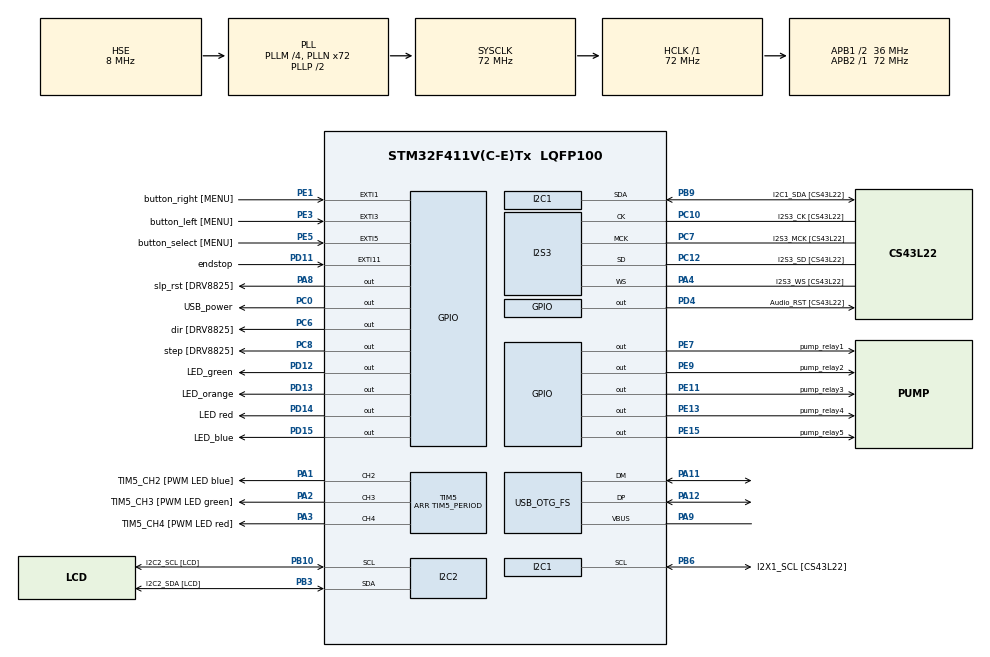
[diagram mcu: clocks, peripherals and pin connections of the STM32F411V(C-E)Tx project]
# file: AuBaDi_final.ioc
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Dma.Request0=SPI3_TX
Dma.SPI3_TX.0.Direction=DMA_MEMORY_TO_PERIPH
Dma.SPI3_TX.0.FIFOMode=DMA_FIFOMODE_ENABLE
Dma.SPI3_TX.0.FIFOThreshold=DMA_FIFO_THRESHOLD_FULL
Dma.SPI3_TX.0.Instance=DMA1_Stream5
Dma.SPI3_TX.0.MemBurst=DMA_MBURST_SINGLE
Dma.SPI3_TX.0.MemDataAlignment=DMA_MDATAALIGN_HALFWORD
Dma.SPI3_TX.0.MemInc=DMA_MINC_ENABLE
Dma.SPI3_TX.0.Mode=DMA_CIRCULAR
Dma.SPI3_TX.0.PeriphBurst=DMA_PBURST_SINGLE
Dma.SPI3_TX.0.PeriphDataAlignment=DMA_PDATAALIGN_HALFWORD
Dma.SPI3_TX.0.PeriphInc=DMA_PINC_DISABLE
Dma.SPI3_TX.0.Priority=DMA_PRIORITY_LOW
I2S3.AudioFreq=I2S_AUDIOFREQ_44K
I2S3.ErrorAudioFreq=6.53 %
I2S3.FullDuplexMode=I2S_FULLDUPLEXMODE_DISABLE
I2S3.Instance=SPI$Index
I2S3.RealAudioFreq=46.875 KHz
I2S3.VirtualMode=I2S_MODE_MASTER
Mcu.Family=STM32F4
Mcu.Name=STM32F411V(C-E)Tx
Mcu.Package=LQFP100
Mcu.UserConstants=TIM4_PERIOD,850;TIM4_PRESCALER,200;TIM5_PRESCALER,700;TIM5_PERIOD,700;TIM10_PERIOD,850;TIM10_PRESCALER,850;TIM3_PERIOD,300;TIM3_PRESCALER,238
NVIC.DMA1_Stream5_IRQn=true\:0\:0\:false\:false\:true\:false\:true
NVIC.EXTI15_10_IRQn=true\:0\:0\:false\:false\:true\:true\:true
NVIC.EXTI1_IRQn=true\:0\:0\:false\:false\:true\:true\:true
NVIC.EXTI3_IRQn=true\:0\:0\:false\:false\:true\:true\:true
NVIC.EXTI9_5_IRQn=true\:0\:0\:false\:false\:true\:true\:true
NVIC.OTG_FS_IRQn=true\:0\:0\:false\:false\:true\:true\:true
NVIC.PriorityGroup=NVIC_PRIORITYGROUP_0
NVIC.TIM1_UP_TIM10_IRQn=true\:0\:0\:false\:false\:true\:true\:true
NVIC.TIM3_IRQn=true\:0\:0\:false\:false\:true\:true\:true
NVIC.TIM4_IRQn=true\:0\:0\:false\:false\:true\:true\:true
PA1.GPIO_Label=TIM5_CH2 [PWM LED blue]
PA1.Signal=S_TIM5_CH2
PA11.Mode=Host_Only
PA11.Signal=USB_OTG_FS_DM
PA12.Mode=Host_Only
PA12.Signal=USB_OTG_FS_DP
PA2.GPIO_Label=TIM5_CH3 [PWM LED green]
PA2.Signal=S_TIM5_CH3
PA3.GPIO_Label=TIM5_CH4 [PWM LED red]
PA3.Signal=S_TIM5_CH4
PA4.GPIO_Label=I2S3_WS [CS43L22]
PA4.Mode=Half_Duplex_Master
PA4.Signal=I2S3_WS
PA8.GPIO_Label=slp_rst [DRV8825]
PA8.Signal=GPIO_Output
PA9.Mode=Activate_VBUS
PA9.Signal=USB_OTG_FS_VBUS
PB10.GPIO_Label=I2C2_SCL [LCD]
PB10.Mode=I2C
PB10.Signal=I2C2_SCL
PB3.GPIO_Label=I2C2_SDA [LCD]
PB3.Mode=I2C
PB3.Signal=I2C2_SDA
PB6.GPIO_Label=I2X1_SCL [CS43L22]
PB6.Mode=I2C
PB6.Signal=I2C1_SCL
PB9.GPIO_Label=I2C1_SDA [CS43L22]
PB9.Mode=I2C
PB9.Signal=I2C1_SDA
PC0.GPIO_Label=USB_power
PC0.Signal=GPIO_Output
PC10.GPIO_Label=I2S3_CK [CS43L22]
PC10.Mode=Half_Duplex_Master
PC10.Signal=I2S3_CK
PC12.GPIO_Label=I2S3_SD [CS43L22]
PC12.Mode=Half_Duplex_Master
PC12.Signal=I2S3_SD
PC6.GPIO_Label=dir [DRV8825]
PC6.Signal=GPIO_Output
PC7.GPIO_Label=I2S3_MCK [CS43L22]
PC7.Mode=Master_Clock_Activated
PC7.Signal=I2S3_MCK
PC8.GPIO_Label=step [DRV8825]
PC8.Signal=GPIO_Output
PD11.GPIO_Label=endstop
PD11.Signal=GPXTI11
PD12.GPIO_Label=LED_green
PD12.Signal=GPIO_Output
PD13.GPIO_Label=LED_orange
PD13.Signal=GPIO_Output
PD14.GPIO_Label=LED red
PD14.Signal=GPIO_Output
PD15.GPIO_Label=LED_blue
PD15.Signal=GPIO_Output
PD4.GPIO_Label=Audio_RST [CS43L22]
PD4.Signal=GPIO_Output
PE1.GPIO_Label=button_right [MENU]
PE1.GPIO_PuPd=GPIO_PULLDOWN
PE1.Signal=GPXTI1
PE11.GPIO_Label=pump_relay3
PE11.GPIO_ModeDefaultOutputPP=GPIO_MODE_OUTPUT_OD
PE11.GPIO_PuPd=GPIO_PULLUP
PE11.Signal=GPIO_Output
PE13.GPIO_Label=pump_relay4
PE13.GPIO_ModeDefaultOutputPP=GPIO_MODE_OUTPUT_OD
PE13.GPIO_PuPd=GPIO_PULLUP
PE13.Signal=GPIO_Output
PE15.GPIO_Label=pump_relay5
PE15.GPIO_ModeDefaultOutputPP=GPIO_MODE_OUTPUT_OD
PE15.GPIO_PuPd=GPIO_PULLUP
PE15.Signal=GPIO_Output
PE3.GPIO_Label=button_left [MENU]
PE3.GPIO_PuPd=GPIO_PULLDOWN
PE3.Signal=GPXTI3
PE5.GPIO_Label=button_select [MENU]
PE5.GPIO_PuPd=GPIO_PULLDOWN
PE5.Signal=GPXTI5
PE7.GPIO_Label=pump_relay1
PE7.GPIO_ModeDefaultOutputPP=GPIO_MODE_OUTPUT_OD
PE7.GPIO_PuPd=GPIO_PULLUP
PE7.Signal=GPIO_Output
PE9.GPIO_Label=pump_relay2
PE9.GPIO_ModeDefaultOutputPP=GPIO_MODE_OUTPUT_OD
PE9.GPIO_PuPd=GPIO_PULLUP
PE9.Signal=GPIO_Output
PH0\ -\ OSC_IN.Mode=HSE-External-Oscillator
PH0\ -\ OSC_IN.Signal=RCC_OSC_IN
PH1\ -\ OSC_OUT.Mode=HSE-External-Oscillator
PH1\ -\ OSC_OUT.Signal=RCC_OSC_OUT
ProjectManager.HeapSize=0x2000
ProjectManager.StackSize=0x2000
ProjectManager.TargetToolchain=STM32CubeIDE
RCC.48MHZClocksFreq_Value=48000000
RCC.AHBFreq_Value=72000000
RCC.APB1CLKDivider=RCC_HCLK_DIV2
RCC.APB1Freq_Value=36000000
RCC.APB1TimFreq_Value=72000000
RCC.APB2Freq_Value=72000000
RCC.APB2TimFreq_Value=72000000
RCC.CortexFreq_Value=72000000
RCC.HCLKFreq_Value=72000000
RCC.HSE_VALUE=8000000
RCC.HSI_VALUE=16000000
RCC.LSE_VALUE=32768
RCC.PLLI2SM=8
RCC.PLLI2SN=288
RCC.PLLI2SR=6
RCC.PLLM=4
RCC.PLLN=72
RCC.PLLQ=3
RCC.SYSCLKFreq_VALUE=72000000
RCC.SYSCLKSource=RCC_SYSCLKSOURCE_PLLCLK
RCC.VCOOutputFreq_Value=144000000
SH.S_TIM5_CH2.0=TIM5_CH2,PWM Generation2 CH2
SH.S_TIM5_CH3.0=TIM5_CH3,PWM Generation3 CH3
SH.S_TIM5_CH4.0=TIM5_CH4,PWM Generation4 CH4
TIM10.Period=TIM10_PERIOD
TIM10.Prescaler=TIM10_PRESCALER
TIM3.Period=TIM3_PERIOD
TIM3.Prescaler=TIM3_PRESCALER
TIM4.Period=TIM4_PERIOD
TIM4.Prescaler=TIM4_PRESCALER
TIM5.Channel-PWM\ Generation2\ CH2=TIM_CHANNEL_2
TIM5.Channel-PWM\ Generation3\ CH3=TIM_CHANNEL_3
TIM5.Channel-PWM\ Generation4\ CH4=TIM_CHANNEL_4
TIM5.Period=TIM5_PERIOD
TIM5.Prescaler=TIM5_PRESCALER
USB_HOST.BSP.number=1
USB_HOST.USBH_HandleTypeDef=hUsbHostFS
USB_HOST.VirtualModeFS=Msc
USB_HOST0.BSP.STBoard=false
USB_HOST0.BSP.api=Unknown
USB_HOST0.BSP.i2caddr=0
USB_HOST0.BSP.i2creg=0
USB_HOST0.BSP.instance=PC0
USB_HOST0.BSP.ip=GPIO
USB_HOST0.BSP.mode=Output
USB_HOST0.BSP.name=Drive_VBUS_FS
USB_HOST0.BSP.solution=PC0
USB_OTG_FS.VirtualMode=Host_Only
USB_OTG_FS.phy_itface=HCD_PHY_EMBEDDED
VP_FATFS_VS_USB.Mode=USB
VP_TIM10_VS_ClockSourceINT.Mode=Enable_Timer
VP_TIM3_VS_ClockSourceINT.Mode=Internal
VP_TIM4_VS_ClockSourceINT.Mode=Internal
VP_USB_HOST_VS_USB_HOST_MSC_FS.Mode=MSC_FS
board=STM32F411E-DISCO

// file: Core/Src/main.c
/* USER CODE BEGIN Header */
/**
 ******************************************************************************
 * @file           : main.c
 * @brief          : Main program body
 ******************************************************************************
 * @attention
 *
 * <h2><center>&copy; Copyright (c) 2020 STMicroelectronics.
 * All rights reserved.</center></h2>
 *
 * This software component is licensed by ST under Ultimate Liberty license
 * SLA0044, the "License"; You may not use this file except in compliance with
 * the License. You may obtain a copy of the License at:
 *                             www.st.com/SLA0044
 *
 ******************************************************************************
 */
/* USER CODE END Header */

#include "main.h"
#include "fatfs.h"
#include "usb_host.h"

/* USER CODE BEGIN Includes */
#include "audioI2S.h"
#include "MY_CS43L22.h"
#include "wav_player.h"
#include "lcd16x2_i2c.h"
/* USER CODE END Includes */

/* USER CODE BEGIN PTD */
extern ApplicationTypeDef Appli_state;
/* USER CODE END PTD */

/* USER CODE BEGIN PD */
#define STEPS 1970
#define WAV_FILE_menu "audio/cancan1.wav"
#define WAV_FILE_1 "audio/club1.wav"
#define WAV_FILE_2 "audio/cancan1.wav"
#define WAV_FILE_3 "audio/club1.wav"
/* USER CODE END PD */

I2C_HandleTypeDef hi2c1;
I2C_HandleTypeDef hi2c2;

I2S_HandleTypeDef hi2s3;
DMA_HandleTypeDef hdma_spi3_tx;

TIM_HandleTypeDef htim3;
TIM_HandleTypeDef htim4;
TIM_HandleTypeDef htim5;
TIM_HandleTypeDef htim10;

/* USER CODE BEGIN PV */

volatile int duty = 0;
volatile int confirm = 0;
volatile int selection = 0;
volatile int old_selection = -1;
volatile int audio_flag = 0;
volatile int time_pour = 0;
volatile int flag_endofroad = 0;
volatile int flag_busy = 0;
volatile int last_position = 0;
volatile int step = 2;
volatile int step_beg;
volatile int iter = 5;
volatile int recipe = 0;
volatile int pour_position = 0;
volatile int go_to_pos;
volatile int pour_recipe;

int queue[] = { 0, 5, 4, 3, 2, 1 };

//*************************RECIPES*************************
int recipe_1[] = { 0, 5000, 4000, 3000, 2000, 1000 };
int recipe_2[] = { 0, 1000, 2000, 3000, 4000, 5000 };
int recipe_3[] = { 0, 1000, 1000, 1000, 1000, 1000 };

/* USER CODE END PV */

void SystemClock_Config(void);
static void MX_GPIO_Init(void);
static void MX_DMA_Init(void);
static void MX_I2C1_Init(void);
static void MX_I2S3_Init(void);
static void MX_I2C2_Init(void);
static void MX_TIM4_Init(void);
static void MX_TIM5_Init(void);
static void MX_TIM10_Init(void);
static void MX_TIM3_Init(void);
void MX_USB_HOST_Process(void);

/* USER CODE BEGIN PFP */
void HAL_TIM_PeriodElapsedCallback(TIM_HandleTypeDef *htim) {
	if (htim == &htim10) {
		if (duty < 1000) {
			duty++;
		} else
			duty = 0;
	}
	if (htim == &htim4) {
		HAL_GPIO_TogglePin(step_GPIO_Port, step_Pin);
		step--;
		step_beg--;

		if (step == 0) {
			HAL_TIM_Base_Stop_IT(&htim4);
			flag_busy = 0;
		}
		if (step_beg == 0) {
			HAL_TIM_Base_Stop_IT(&htim4);
			HAL_TIM_Base_Start_IT(&htim3);
			iter--;
		}
		if (iter < 0) {
			iter = 5;
			confirm = 0;
		}
	}

	if (htim == &htim3) {
		switch (pour_position) {
		case 1:
			HAL_GPIO_WritePin(pump_relay1_GPIO_Port, pump_relay1_Pin, 0);
			break;
		case 2:
			HAL_GPIO_WritePin(pump_relay2_GPIO_Port, pump_relay2_Pin, 0);
			break;
		case 3:
			HAL_GPIO_WritePin(pump_relay3_GPIO_Port, pump_relay3_Pin, 0);
			break;
		case 4:
			HAL_GPIO_WritePin(pump_relay4_GPIO_Port, pump_relay4_Pin, 0);
			break;
		case 5:
			HAL_GPIO_WritePin(pump_relay5_GPIO_Port, pump_relay5_Pin, 0);
			break;

		}
		if (time_pour > 0) {
			time_pour--;
		} else {
			time_pour = 0;
			HAL_GPIO_WritePin(pump_relay1_GPIO_Port, pump_relay1_Pin, 1);
			HAL_GPIO_WritePin(pump_relay2_GPIO_Port, pump_relay2_Pin, 1);
			HAL_GPIO_WritePin(pump_relay3_GPIO_Port, pump_relay3_Pin, 1);
			HAL_GPIO_WritePin(pump_relay4_GPIO_Port, pump_relay4_Pin, 1);
			HAL_GPIO_WritePin(pump_relay5_GPIO_Port, pump_relay5_Pin, 1);
			HAL_TIM_Base_Stop_IT(&htim3);
			flag_busy = 0;

		}
	}
}

void HAL_GPIO_EXTI_Callback(uint16_t GPIO_Pin) {
	//  left button
	if (GPIO_Pin == button_left_Pin) {
		//confirm = 0;
		selection--;
	}
	//  right button
	if (GPIO_Pin == button_right_Pin) {
		//confirm = 0;
		selection++;
	}
	//  menu button
	if (GPIO_Pin == button_select_Pin) {
		confirm = 1;
	}
	// endstop
	if (GPIO_Pin == endstop_Pin)
		flag_endofroad = 1;
	else
		flag_endofroad = 0;
}

void wake(int flag) {
	if (flag == 1) {
		HAL_GPIO_WritePin(slp_rst_GPIO_Port, slp_rst_Pin, 1);
	} else {
		HAL_GPIO_WritePin(slp_rst_GPIO_Port, slp_rst_Pin, 0);
	}
}

void move(int direction, int steps) {
	step = steps;
	switch (direction) {
	//move right
	case 0:
		HAL_GPIO_WritePin(dir_GPIO_Port, dir_Pin, 0);
		wake(1);
		HAL_TIM_Base_Start_IT(&htim4);
		break;
		//move left
	case 1:
		HAL_GPIO_WritePin(dir_GPIO_Port, dir_Pin, 1);
		wake(1);
		HAL_TIM_Base_Start_IT(&htim4);
		break;
	}

}

void moveBegin() {
	wake(1);
	while (flag_endofroad == 0) {
		move(0, 1);
	}
	flag_endofroad = 0;
	wake(0);
}

void bartender(int position, int time) {
	pour_position = position;
	flag_busy = 1;
	time_pour = time;
	int target;
	flag_endofroad = 0;

	if (position >= 0) {

		if (last_position > position) {
			wake(1);
			target = STEPS / 2 * abs((position - last_position));
			move(0, target + 10);

		}

		else if (last_position < position) {
			wake(1);
			target = STEPS / 2 * abs((last_position - position));
			move(1, target + 10);

		}

		step_beg = target;
	}
	last_position = position;

}

void pumpInit() {
	HAL_GPIO_WritePin(pump_relay1_GPIO_Port, pump_relay1_Pin, 1);
	HAL_GPIO_WritePin(pump_relay2_GPIO_Port, pump_relay2_Pin, 1);
	HAL_GPIO_WritePin(pump_relay3_GPIO_Port, pump_relay3_Pin, 1);
	HAL_GPIO_WritePin(pump_relay4_GPIO_Port, pump_relay4_Pin, 1);
	HAL_GPIO_WritePin(pump_relay5_GPIO_Port, pump_relay5_Pin, 1);
}
/* USER CODE END PFP */

int main(void)
{

  /* MCU Configuration--------------------------------------------------------*/

  /* Reset of all peripherals, Initializes the Flash interface and the Systick. */
  HAL_Init();

  /* Configure the system clock */
  SystemClock_Config();

  /* Initialize all configured peripherals */
  MX_GPIO_Init();
  MX_DMA_Init();
  MX_I2C1_Init();
  MX_I2S3_Init();
  MX_USB_HOST_Init();
  MX_FATFS_Init();
  MX_I2C2_Init();
  MX_TIM4_Init();
  MX_TIM5_Init();
  MX_TIM10_Init();
  MX_TIM3_Init();
  /* USER CODE BEGIN 2 */
	/******************************** MENU INIT ************************************/
	pumpInit();

	/****************************** DAC AUDIO INIT ******************************/
	CS43_Init(hi2c1, MODE_I2S);
	CS43_SetVolume(190); //0-255
	CS43_Enable_RightLeft(CS43_RIGHT_LEFT);
	audioI2S_setHandle(&hi2s3);
	bool isSdCardMounted = 0;

	/****************************** LCD INIT ************************************/
	lcd16x2_i2c_init(&hi2c2);
	lcd16x2_i2c_1stLine();
	lcd16x2_i2c_printf("Barman Dionizos");
	lcd16x2_i2c_2ndLine();
	lcd16x2_i2c_printf(" KALIBRACJA ");

	/****************************** PWM LIGHTNING INIT **************************/
	HAL_TIM_Base_Start_IT(&htim10);
	//blue LED
	__HAL_TIM_SET_COMPARE(&htim5, TIM_CHANNEL_2, 0);
	HAL_TIM_PWM_Start(&htim5, TIM_CHANNEL_2);
	//green LED
	__HAL_TIM_SET_COMPARE(&htim5, TIM_CHANNEL_3, 0);
	HAL_TIM_PWM_Start(&htim5, TIM_CHANNEL_3);
	//red LED
	__HAL_TIM_SET_COMPARE(&htim5, TIM_CHANNEL_4, 0);
	HAL_TIM_PWM_Start(&htim5, TIM_CHANNEL_4);

	/****************************** MOTOR INIT ***********************************/
	moveBegin();
	wake(1);
	/******************************** MENU INIT ************************************/
	iter = 5;
  /* USER CODE END 2 */

  /* Infinite loop */
  /* USER CODE BEGIN WHILE */
	while (1) {

		/*********************************** MENU ************************************/

		if (selection != old_selection) {
			if (selection <= 3 && selection >= 0) {
				switch (selection) {

				case 0:
					lcd16x2_i2c_clear();
					lcd16x2_i2c_1stLine();
					lcd16x2_i2c_printf("Barman Dionizos");
					lcd16x2_i2c_2ndLine();
					lcd16x2_i2c_printf("<-WYBOR NAPOJU->");
					audio_flag = 4;
					recipe = 0;
					confirm = 0;
					break;

				case 1:
					lcd16x2_i2c_clear();
					lcd16x2_i2c_1stLine();
					lcd16x2_i2c_printf("Barman Dionizos");
					lcd16x2_i2c_2ndLine();
					lcd16x2_i2c_printf("<-   NAPOJ 1  ->");
					audio_flag = 1;
					recipe = 1;
					break;

				case 2:
					lcd16x2_i2c_clear();
					lcd16x2_i2c_1stLine();
					lcd16x2_i2c_printf("Barman Dionizos");
					lcd16x2_i2c_2ndLine();
					lcd16x2_i2c_printf("<-   NAPOJ 2  ->");
					audio_flag = 2;
					recipe = 2;
					break;

				case 3:
					lcd16x2_i2c_clear();
					lcd16x2_i2c_1stLine();
					lcd16x2_i2c_printf("Barman Dionizos");
					lcd16x2_i2c_2ndLine();
					lcd16x2_i2c_printf("<-   NAPOJ 3  ->");
					audio_flag = 3;
					recipe = 3;
					break;
				}
				old_selection = selection;
			}

			else if (selection < 0) {
				selection = 3;
			} else if (selection > 3) {
				selection = 0;
			}

		}

		/*********************************** LED PWM  ************************************/
		TIM5->CCR2 = 1000;
		TIM5->CCR3 = duty;
		TIM5->CCR4 = (1000 - duty);

		/*********************************** AUDIO ****************************************/

		if (Appli_state == APPLICATION_START) {
			HAL_GPIO_WritePin(GPIOD, GPIO_PIN_12, GPIO_PIN_SET);
		}

		else if (Appli_state == APPLICATION_DISCONNECT) {
			HAL_GPIO_WritePin(GPIOD, GPIO_PIN_12, GPIO_PIN_RESET);

		}

		if (Appli_state == APPLICATION_READY) {
			if (!isSdCardMounted) {
				f_mount(&USBHFatFS, (const TCHAR*) USBHPath, 0);
				isSdCardMounted = 1;
			}

			if (audio_flag == 1) {
				if (!wavPlayer_isFinished()) {
					wavPlayer_stop();
				} else {
					HAL_GPIO_WritePin(GPIOD, GPIO_PIN_13, GPIO_PIN_SET);
					HAL_Delay(500);
					wavPlayer_fileSelect(WAV_FILE_1);
					wavPlayer_play();
					audio_flag = 0;
				}
			}

			else if (audio_flag == 2) {
				if (!wavPlayer_isFinished()) {
					wavPlayer_stop();
				} else {
					HAL_GPIO_WritePin(GPIOD, GPIO_PIN_13, GPIO_PIN_SET);
					HAL_Delay(500);
					wavPlayer_fileSelect(WAV_FILE_2);
					wavPlayer_play();
					audio_flag = 0;
				}
			}

			else if (audio_flag == 3) {
				if (!wavPlayer_isFinished()) {
					wavPlayer_stop();
				} else {
					HAL_GPIO_WritePin(GPIOD, GPIO_PIN_13, GPIO_PIN_SET);
					HAL_Delay(500);
					wavPlayer_fileSelect(WAV_FILE_3);
					wavPlayer_play();
					audio_flag = 0;
				}
			}

			else if (audio_flag == 4) {
				if (!wavPlayer_isFinished()) {
					wavPlayer_stop();
				} else {
					HAL_GPIO_WritePin(GPIOD, GPIO_PIN_13, GPIO_PIN_SET);
					HAL_Delay(500);
					wavPlayer_fileSelect(WAV_FILE_menu);
					wavPlayer_play();
					audio_flag = 0;
				}
			}

		}

		wavPlayer_process();

		/*********************************** MOTOR & PUMPS  ************************************/

		switch (selection) {
		case 1:
			if (confirm == 1) {
				if (flag_busy == 0) {
					if (iter >= 0) {
						go_to_pos = queue[iter];
						pour_recipe = recipe_1[iter];
					} else {
						go_to_pos = 0;
						pour_recipe = 0;
					}
					bartender(go_to_pos, pour_recipe);
				}
			}
			break;
		case 2:
			if (confirm == 1) {
				if (flag_busy == 0) {
					if (iter >= 0) {
						go_to_pos = queue[iter];
						pour_recipe = recipe_2[iter];
					} else {
						go_to_pos = 0;
						pour_recipe = 0;
					}
					bartender(go_to_pos, pour_recipe);
				}
			}
			break;
		case 3:
			if (confirm == 1) {
				if (flag_busy == 0) {
					if (iter >= 0) {
						go_to_pos = queue[iter];
						pour_recipe = recipe_3[iter];
					} else {
						go_to_pos = 0;
						pour_recipe = 0;
					}
					bartender(go_to_pos, pour_recipe);
				}
			}
			break;
		}
		//*********************************** PUMPS  ************************************/

    /* USER CODE END WHILE */
    MX_USB_HOST_Process();

	}
}

void SystemClock_Config(void)
{
  RCC_OscInitTypeDef RCC_OscInitStruct = {0};
  RCC_ClkInitTypeDef RCC_ClkInitStruct = {0};
  RCC_PeriphCLKInitTypeDef PeriphClkInitStruct = {0};

  /** Configure the main internal regulator output voltage
  */
  __HAL_RCC_PWR_CLK_ENABLE();
  __HAL_PWR_VOLTAGESCALING_CONFIG(PWR_REGULATOR_VOLTAGE_SCALE1);
  /** Initializes the CPU, AHB and APB busses clocks
  */
  RCC_OscInitStruct.OscillatorType = RCC_OSCILLATORTYPE_HSE;
  RCC_OscInitStruct.HSEState = RCC_HSE_ON;
  RCC_OscInitStruct.PLL.PLLState = RCC_PLL_ON;
  RCC_OscInitStruct.PLL.PLLSource = RCC_PLLSOURCE_HSE;
  RCC_OscInitStruct.PLL.PLLM = 4;
  RCC_OscInitStruct.PLL.PLLN = 72;
  RCC_OscInitStruct.PLL.PLLP = RCC_PLLP_DIV2;
  RCC_OscInitStruct.PLL.PLLQ = 3;
  if (HAL_RCC_OscConfig(&RCC_OscInitStruct) != HAL_OK)
  {
    Error_Handler();
  }
  /** Initializes the CPU, AHB and APB busses clocks
  */
  RCC_ClkInitStruct.ClockType = RCC_CLOCKTYPE_HCLK|RCC_CLOCKTYPE_SYSCLK
                              |RCC_CLOCKTYPE_PCLK1|RCC_CLOCKTYPE_PCLK2;
  RCC_ClkInitStruct.SYSCLKSource = RCC_SYSCLKSOURCE_PLLCLK;
  RCC_ClkInitStruct.AHBCLKDivider = RCC_SYSCLK_DIV1;
  RCC_ClkInitStruct.APB1CLKDivider = RCC_HCLK_DIV2;
  RCC_ClkInitStruct.APB2CLKDivider = RCC_HCLK_DIV1;

  if (HAL_RCC_ClockConfig(&RCC_ClkInitStruct, FLASH_LATENCY_2) != HAL_OK)
  {
    Error_Handler();
  }
  PeriphClkInitStruct.PeriphClockSelection = RCC_PERIPHCLK_I2S;
  PeriphClkInitStruct.PLLI2S.PLLI2SN = 288;
  PeriphClkInitStruct.PLLI2S.PLLI2SM = 8;
  PeriphClkInitStruct.PLLI2S.PLLI2SR = 6;
  if (HAL_RCCEx_PeriphCLKConfig(&PeriphClkInitStruct) != HAL_OK)
  {
    Error_Handler();
  }
}

static void MX_I2C1_Init(void)
{

  hi2c1.Instance = I2C1;
  hi2c1.Init.ClockSpeed = 100000;
  hi2c1.Init.DutyCycle = I2C_DUTYCYCLE_2;
  hi2c1.Init.OwnAddress1 = 0;
  hi2c1.Init.AddressingMode = I2C_ADDRESSINGMODE_7BIT;
  hi2c1.Init.DualAddressMode = I2C_DUALADDRESS_DISABLE;
  hi2c1.Init.OwnAddress2 = 0;
  hi2c1.Init.GeneralCallMode = I2C_GENERALCALL_DISABLE;
  hi2c1.Init.NoStretchMode = I2C_NOSTRETCH_DISABLE;
  if (HAL_I2C_Init(&hi2c1) != HAL_OK)
  {
    Error_Handler();
  }

}

static void MX_I2C2_Init(void)
{

  hi2c2.Instance = I2C2;
  hi2c2.Init.ClockSpeed = 100000;
  hi2c2.Init.DutyCycle = I2C_DUTYCYCLE_2;
  hi2c2.Init.OwnAddress1 = 0;
  hi2c2.Init.AddressingMode = I2C_ADDRESSINGMODE_7BIT;
  hi2c2.Init.DualAddressMode = I2C_DUALADDRESS_DISABLE;
  hi2c2.Init.OwnAddress2 = 0;
  hi2c2.Init.GeneralCallMode = I2C_GENERALCALL_DISABLE;
  hi2c2.Init.NoStretchMode = I2C_NOSTRETCH_DISABLE;
  if (HAL_I2C_Init(&hi2c2) != HAL_OK)
  {
    Error_Handler();
  }

}

static void MX_I2S3_Init(void)
{

  hi2s3.Instance = SPI3;
  hi2s3.Init.Mode = I2S_MODE_MASTER_TX;
  hi2s3.Init.Standard = I2S_STANDARD_PHILIPS;
  hi2s3.Init.DataFormat = I2S_DATAFORMAT_16B;
  hi2s3.Init.MCLKOutput = I2S_MCLKOUTPUT_ENABLE;
  hi2s3.Init.AudioFreq = I2S_AUDIOFREQ_44K;
  hi2s3.Init.CPOL = I2S_CPOL_LOW;
  hi2s3.Init.ClockSource = I2S_CLOCK_PLL;
  hi2s3.Init.FullDuplexMode = I2S_FULLDUPLEXMODE_DISABLE;
  if (HAL_I2S_Init(&hi2s3) != HAL_OK)
  {
    Error_Handler();
  }

}

static void MX_TIM3_Init(void)
{

  TIM_ClockConfigTypeDef sClockSourceConfig = {0};
  TIM_MasterConfigTypeDef sMasterConfig = {0};

  htim3.Instance = TIM3;
  htim3.Init.Prescaler = TIM3_PRESCALER;
  htim3.Init.CounterMode = TIM_COUNTERMODE_UP;
  htim3.Init.Period = TIM3_PERIOD;
  htim3.Init.ClockDivision = TIM_CLOCKDIVISION_DIV1;
  htim3.Init.AutoReloadPreload = TIM_AUTORELOAD_PRELOAD_DISABLE;
  if (HAL_TIM_Base_Init(&htim3) != HAL_OK)
  {
    Error_Handler();
  }
  sClockSourceConfig.ClockSource = TIM_CLOCKSOURCE_INTERNAL;
  if (HAL_TIM_ConfigClockSource(&htim3, &sClockSourceConfig) != HAL_OK)
  {
    Error_Handler();
  }
  sMasterConfig.MasterOutputTrigger = TIM_TRGO_RESET;
  sMasterConfig.MasterSlaveMode = TIM_MASTERSLAVEMODE_DISABLE;
  if (HAL_TIMEx_MasterConfigSynchronization(&htim3, &sMasterConfig) != HAL_OK)
  {
    Error_Handler();
  }

}

static void MX_TIM4_Init(void)
{

  TIM_ClockConfigTypeDef sClockSourceConfig = {0};
  TIM_MasterConfigTypeDef sMasterConfig = {0};

  htim4.Instance = TIM4;
  htim4.Init.Prescaler = TIM4_PRESCALER;
  htim4.Init.CounterMode = TIM_COUNTERMODE_UP;
  htim4.Init.Period = TIM4_PERIOD;
  htim4.Init.ClockDivision = TIM_CLOCKDIVISION_DIV1;
  htim4.Init.AutoReloadPreload = TIM_AUTORELOAD_PRELOAD_DISABLE;
  if (HAL_TIM_Base_Init(&htim4) != HAL_OK)
  {
    Error_Handler();
  }
  sClockSourceConfig.ClockSource = TIM_CLOCKSOURCE_INTERNAL;
  if (HAL_TIM_ConfigClockSource(&htim4, &sClockSourceConfig) != HAL_OK)
  {
    Error_Handler();
  }
  sMasterConfig.MasterOutputTrigger = TIM_TRGO_RESET;
  sMasterConfig.MasterSlaveMode = TIM_MASTERSLAVEMODE_DISABLE;
  if (HAL_TIMEx_MasterConfigSynchronization(&htim4, &sMasterConfig) != HAL_OK)
  {
    Error_Handler();
  }

}

static void MX_TIM5_Init(void)
{

  TIM_MasterConfigTypeDef sMasterConfig = {0};
  TIM_OC_InitTypeDef sConfigOC = {0};

  htim5.Instance = TIM5;
  htim5.Init.Prescaler = TIM5_PRESCALER;
  htim5.Init.CounterMode = TIM_COUNTERMODE_UP;
  htim5.Init.Period = TIM5_PERIOD;
  htim5.Init.ClockDivision = TIM_CLOCKDIVISION_DIV1;
  htim5.Init.AutoReloadPreload = TIM_AUTORELOAD_PRELOAD_DISABLE;
  if (HAL_TIM_PWM_Init(&htim5) != HAL_OK)
  {
    Error_Handler();
  }
  sMasterConfig.MasterOutputTrigger = TIM_TRGO_RESET;
  sMasterConfig.MasterSlaveMode = TIM_MASTERSLAVEMODE_DISABLE;
  if (HAL_TIMEx_MasterConfigSynchronization(&htim5, &sMasterConfig) != HAL_OK)
  {
    Error_Handler();
  }
  sConfigOC.OCMode = TIM_OCMODE_PWM1;
  sConfigOC.Pulse = 0;
  sConfigOC.OCPolarity = TIM_OCPOLARITY_HIGH;
  sConfigOC.OCFastMode = TIM_OCFAST_DISABLE;
  if (HAL_TIM_PWM_ConfigChannel(&htim5, &sConfigOC, TIM_CHANNEL_2) != HAL_OK)
  {
    Error_Handler();
  }
  if (HAL_TIM_PWM_ConfigChannel(&htim5, &sConfigOC, TIM_CHANNEL_3) != HAL_OK)
  {
    Error_Handler();
  }
  if (HAL_TIM_PWM_ConfigChannel(&htim5, &sConfigOC, TIM_CHANNEL_4) != HAL_OK)
  {
    Error_Handler();
  }
  HAL_TIM_MspPostInit(&htim5);

}

static void MX_TIM10_Init(void)
{

  htim10.Instance = TIM10;
  htim10.Init.Prescaler = TIM10_PRESCALER;
  htim10.Init.CounterMode = TIM_COUNTERMODE_UP;
  htim10.Init.Period = TIM10_PERIOD;
  htim10.Init.ClockDivision = TIM_CLOCKDIVISION_DIV1;
  htim10.Init.AutoReloadPreload = TIM_AUTORELOAD_PRELOAD_DISABLE;
  if (HAL_TIM_Base_Init(&htim10) != HAL_OK)
  {
    Error_Handler();
  }

}

static void MX_DMA_Init(void)
{

  /* DMA controller clock enable */
  __HAL_RCC_DMA1_CLK_ENABLE();

  /* DMA interrupt init */
  /* DMA1_Stream5_IRQn interrupt configuration */
  HAL_NVIC_SetPriority(DMA1_Stream5_IRQn, 0, 0);
  HAL_NVIC_EnableIRQ(DMA1_Stream5_IRQn);

}

static void MX_GPIO_Init(void)
{
  GPIO_InitTypeDef GPIO_InitStruct = {0};

  /* GPIO Ports Clock Enable */
  __HAL_RCC_GPIOE_CLK_ENABLE();
  __HAL_RCC_GPIOH_CLK_ENABLE();
  __HAL_RCC_GPIOC_CLK_ENABLE();
  __HAL_RCC_GPIOA_CLK_ENABLE();
  __HAL_RCC_GPIOB_CLK_ENABLE();
  __HAL_RCC_GPIOD_CLK_ENABLE();

  /*Configure GPIO pin Output Level */
  HAL_GPIO_WritePin(GPIOC, USB_power_Pin|dir_Pin|step_Pin, GPIO_PIN_RESET);

  /*Configure GPIO pin Output Level */
  HAL_GPIO_WritePin(GPIOE, pump_relay1_Pin|pump_relay2_Pin|pump_relay3_Pin|pump_relay4_Pin
                          |pump_relay5_Pin, GPIO_PIN_RESET);

  /*Configure GPIO pin Output Level */
  HAL_GPIO_WritePin(GPIOD, LED_green_Pin|LED_orange_Pin|LED_red_Pin|LED_blue_Pin
                          |Audio_RST_Pin, GPIO_PIN_RESET);

  /*Configure GPIO pin Output Level */
  HAL_GPIO_WritePin(slp_rst_GPIO_Port, slp_rst_Pin, GPIO_PIN_RESET);

  /*Configure GPIO pins : button_left_Pin button_select_Pin button_right_Pin */
  GPIO_InitStruct.Pin = button_left_Pin|button_select_Pin|button_right_Pin;
  GPIO_InitStruct.Mode = GPIO_MODE_IT_RISING;
  GPIO_InitStruct.Pull = GPIO_PULLDOWN;
  HAL_GPIO_Init(GPIOE, &GPIO_InitStruct);

  /*Configure GPIO pins : USB_power_Pin dir_Pin step_Pin */
  GPIO_InitStruct.Pin = USB_power_Pin|dir_Pin|step_Pin;
  GPIO_InitStruct.Mode = GPIO_MODE_OUTPUT_PP;
  GPIO_InitStruct.Pull = GPIO_NOPULL;
  GPIO_InitStruct.Speed = GPIO_SPEED_FREQ_LOW;
  HAL_GPIO_Init(GPIOC, &GPIO_InitStruct);

  /*Configure GPIO pins : pump_relay1_Pin pump_relay2_Pin pump_relay3_Pin pump_relay4_Pin
                           pump_relay5_Pin */
  GPIO_InitStruct.Pin = pump_relay1_Pin|pump_relay2_Pin|pump_relay3_Pin|pump_relay4_Pin
                          |pump_relay5_Pin;
  GPIO_InitStruct.Mode = GPIO_MODE_OUTPUT_OD;
  GPIO_InitStruct.Pull = GPIO_PULLUP;
  GPIO_InitStruct.Speed = GPIO_SPEED_FREQ_LOW;
  HAL_GPIO_Init(GPIOE, &GPIO_InitStruct);

  /*Configure GPIO pin : endstop_Pin */
  GPIO_InitStruct.Pin = endstop_Pin;
  GPIO_InitStruct.Mode = GPIO_MODE_IT_RISING;
  GPIO_InitStruct.Pull = GPIO_NOPULL;
  HAL_GPIO_Init(endstop_GPIO_Port, &GPIO_InitStruct);

  /*Configure GPIO pins : LED_green_Pin LED_orange_Pin LED_red_Pin LED_blue_Pin
                           Audio_RST_Pin */
  GPIO_InitStruct.Pin = LED_green_Pin|LED_orange_Pin|LED_red_Pin|LED_blue_Pin
                          |Audio_RST_Pin;
  GPIO_InitStruct.Mode = GPIO_MODE_OUTPUT_PP;
  GPIO_InitStruct.Pull = GPIO_NOPULL;
  GPIO_InitStruct.Speed = GPIO_SPEED_FREQ_LOW;
  HAL_GPIO_Init(GPIOD, &GPIO_InitStruct);

  /*Configure GPIO pin : slp_rst_Pin */
  GPIO_InitStruct.Pin = slp_rst_Pin;
  GPIO_InitStruct.Mode = GPIO_MODE_OUTPUT_PP;
  GPIO_InitStruct.Pull = GPIO_NOPULL;
  GPIO_InitStruct.Speed = GPIO_SPEED_FREQ_LOW;
  HAL_GPIO_Init(slp_rst_GPIO_Port, &GPIO_InitStruct);

  /* EXTI interrupt init*/
  HAL_NVIC_SetPriority(EXTI1_IRQn, 0, 0);
  HAL_NVIC_EnableIRQ(EXTI1_IRQn);

  HAL_NVIC_SetPriority(EXTI3_IRQn, 0, 0);
  HAL_NVIC_EnableIRQ(EXTI3_IRQn);

  HAL_NVIC_SetPriority(EXTI9_5_IRQn, 0, 0);
  HAL_NVIC_EnableIRQ(EXTI9_5_IRQn);

  HAL_NVIC_SetPriority(EXTI15_10_IRQn, 0, 0);
  HAL_NVIC_EnableIRQ(EXTI15_10_IRQn);

}

void Error_Handler(void)
{
}

/************************ (C) COPYRIGHT STMicroelectronics *****END OF FILE****/
